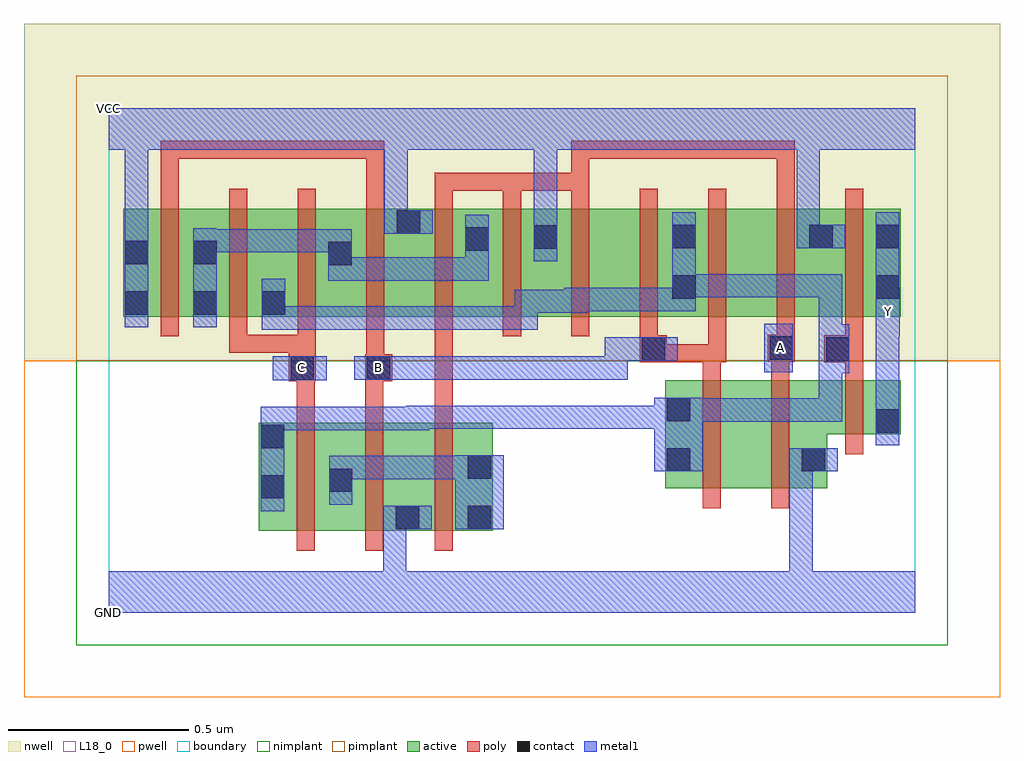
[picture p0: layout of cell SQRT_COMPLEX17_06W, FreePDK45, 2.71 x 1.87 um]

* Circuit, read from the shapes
.subckt SQRT_COMPLEX17_06W A B C GND VCC Y
M1 n1 C n2 VSUBS nfet w=0.3u l=0.05u
M2 GND B n1 VSUBS nfet w=0.3u l=0.05u
M3 n1 A GND VSUBS nfet w=0.3u l=0.05u
M4 n3 B n2 VSUBS nfet w=0.3u l=0.05u
M5 GND A n3 VSUBS nfet w=0.3u l=0.05u
M6 Y n2 GND VSUBS nfet w=0.15u l=0.05u
M7 n4 B VCC n5 pfet w=0.3u l=0.05u m=2
M8 n2 C n4 n5 pfet w=0.3u l=0.05u m=2
M9 n4 A VCC n5 pfet w=0.3u l=0.05u m=2
M10 n6 A VCC n5 pfet w=0.3u l=0.05u
M11 n2 B n6 n5 pfet w=0.3u l=0.05u
M12 n7 B n2 n5 pfet w=0.3u l=0.05u
M13 VCC A n7 n5 pfet w=0.3u l=0.05u
M14 Y n2 VCC n5 pfet w=0.3u l=0.05u
.ends

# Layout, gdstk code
import gdstk
lib = gdstk.Library(unit=1e-6, precision=1e-09)
def R(c, l, rs):  # rectangles x0, y0, x1, y1
    for r in rs: c.add(gdstk.rectangle(r[:2], r[2:], *l))
def A(c, l, x, y, w, h, nx, ny, dx, dy):  # array of equal rectangles
    R(c, l, [(x+i*dx, y+j*dy, x+i*dx+w, y+j*dy+h) for i in range(nx) for j in range(ny)])
active = (1, 0)
pwell = (2, 0)
nwell = (3, 0)
nimplant = (4, 0)
pimplant = (5, 0)
poly = (9, 0)
contact = (10, 0)
metal1 = (11, 0)
L18_0 = (18, 0)
boundary = (235, 0)

sqrt_complex17_06w = lib.new_cell('SQRT_COMPLEX17_06W')
A(sqrt_complex17_06w, active, 0.605, 0.822, 0.265, 0.3, 3, 1, 0.19, 0)
R(sqrt_complex17_06w, active, [(0.417,0.227,0.682,0.527), (0.607,0.227,0.867,0.527), (0.792,0.227,1.067,0.527), (0.792,0.227,0.867,0.402), (0.992,0.227,1.067,0.527), (0.607,0.235,0.682,0.45), (0.417,0.287,0.492,0.527), (1.545,0.345,1.77,0.645), (1.545,0.345,1.62,0.645), (1.77,0.345,1.995,0.645), (1.92,0.387,1.995,0.617), (1.92,0.495,2.2,0.645), (2.125,0.495,2.2,0.645), (0.04,0.822,0.115,1.122), (0.04,0.822,0.305,1.122), (0.23,0.822,0.305,1.122), (0.23,0.822,0.495,1.122), (0.42,0.822,0.68,1.122), (0.42,0.822,0.495,1.055), (0.605,0.822,0.68,1.122), (0.985,0.822,1.06,1.122), (1.175,0.822,1.25,1.122), (1.175,0.822,1.405,1.122), (1.405,0.822,1.635,1.122), (1.56,0.822,1.785,1.122), (1.56,0.822,1.635,1.122), (1.785,0.822,2.015,1.122), (1.94,0.822,2.015,1.122), (1.94,0.822,2.2,1.122), (2.125,0.822,2.2,1.122), (0.795,0.882,0.87,1.122)])
R(sqrt_complex17_06w, pwell, [(-0.235,-0.235,2.475,0.7)])
R(sqrt_complex17_06w, nwell, [(-0.235,0.7,2.475,1.635)])
R(sqrt_complex17_06w, nimplant, [(-0.09,-0.09,2.33,0.7)])
R(sqrt_complex17_06w, pimplant, [(-0.09,0.7,2.33,1.49)])
A(sqrt_complex17_06w, poly, 0.145, 0.767, 0.05, 0.41, 11, 1, 0.19, 0)
A(sqrt_complex17_06w, poly, 0.905, 1.127, 0.05, 0.095, 3, 1, 0.19, 0)
R(sqrt_complex17_06w, poly, [(0.522,0.172,0.572,0.582), (0.712,0.172,0.762,0.582), (0.905,0.172,0.955,0.582), (1.65,0.29,1.7,0.7), (1.84,0.29,1.89,0.7), (2.045,0.44,2.095,0.7), (0.522,0.532,0.572,0.692), (0.712,0.532,0.762,0.692), (0.905,0.532,0.955,0.627), (0.905,0.577,0.955,0.627), (0.905,0.577,0.955,0.817), (0.5,0.642,0.575,0.772), (0.712,0.642,0.787,0.717), (1.65,0.65,1.7,0.745), (1.84,0.65,1.89,0.747), (2.045,0.65,2.095,0.745), (0.715,0.667,0.765,0.817), (1.475,0.695,1.55,0.77), (1.5,0.695,1.7,0.745), (1.65,0.695,1.7,0.745), (1.65,0.695,1.7,0.745), (1.65,0.695,1.715,0.745), (1.665,0.695,1.715,0.817), (1.987,0.695,2.095,0.77), (1.83,0.697,1.905,0.772), (1.475,0.72,1.525,0.817), (2.045,0.72,2.095,0.817), (0.335,0.722,0.385,0.817), (0.335,0.722,0.385,0.772), (0.335,0.722,0.55,0.772), (0.5,0.722,0.55,0.772), (0.5,0.722,0.55,0.772), (0.525,0.722,0.575,0.817), (1.855,0.722,1.905,0.817), (0.145,1.127,0.195,1.31), (0.715,1.127,0.765,1.31), (1.855,1.127,1.905,1.31), (0.905,1.172,0.955,1.222), (0.905,1.172,0.955,1.222), (0.905,1.172,0.955,1.222), (0.905,1.172,1.145,1.222), (1.095,1.172,1.145,1.222), (1.095,1.172,1.145,1.222), (1.095,1.172,1.145,1.222), (1.095,1.172,1.335,1.222), (1.285,1.172,1.335,1.31), (0.145,1.26,0.195,1.31), (0.145,1.26,0.327,1.31), (0.277,1.26,0.327,1.31), (0.277,1.26,0.327,1.31), (0.277,1.26,0.327,1.31), (0.277,1.26,0.517,1.31), (0.467,1.26,0.517,1.31), (0.467,1.26,0.517,1.31), (0.467,1.26,0.517,1.31), (0.467,1.26,0.765,1.31), (0.715,1.26,0.765,1.31), (0.715,1.26,0.765,1.31), (0.715,1.26,0.765,1.31), (1.285,1.26,1.335,1.31), (1.285,1.26,1.335,1.31), (1.285,1.26,1.567,1.31), (1.517,1.26,1.567,1.31), (1.517,1.26,1.567,1.31), (1.517,1.26,1.567,1.31), (1.517,1.26,1.747,1.31), (1.697,1.26,1.747,1.31), (1.697,1.26,1.905,1.31), (1.855,1.26,1.905,1.31), (1.855,1.26,1.905,1.31), (1.855,1.26,1.905,1.31)])
A(sqrt_complex17_06w, contact, 0.045, 0.827, 0.065, 0.065, 3, 1, 0.19, 0)
R(sqrt_complex17_06w, contact, [(0.797,0.232,0.862,0.297), (0.997,0.232,1.062,0.297), (0.422,0.317,0.487,0.382), (0.612,0.335,0.677,0.4), (0.997,0.372,1.062,0.437), (1.55,0.392,1.615,0.457), (1.925,0.392,1.99,0.457), (0.422,0.457,0.487,0.522), (2.13,0.5,2.195,0.565), (1.55,0.532,1.615,0.597), (0.505,0.647,0.57,0.712), (0.717,0.647,0.782,0.712), (1.48,0.7,1.545,0.765), (1.992,0.7,2.057,0.765), (1.835,0.702,1.9,0.767), (1.565,0.872,1.63,0.937), (2.13,0.872,2.195,0.937), (0.61,0.965,0.675,1.03), (0.045,0.967,0.11,1.032), (0.235,0.967,0.3,1.032), (0.99,1.005,1.055,1.07), (1.18,1.01,1.245,1.075), (1.565,1.012,1.63,1.077), (1.945,1.012,2.01,1.077), (2.13,1.012,2.195,1.077), (0.8,1.052,0.865,1.117)])
R(sqrt_complex17_06w, metal1, [(0,0,2.24,0.115), (0.762,0.05,0.827,0.115), (0.762,0.05,0.827,0.115), (0.762,0.05,0.827,0.115), (0.762,0.05,0.827,0.115), (0.762,0.05,0.827,0.297), (1.89,0.05,1.955,0.115), (1.89,0.05,1.955,0.115), (1.89,0.05,1.955,0.115), (1.89,0.05,1.955,0.115), (1.89,0.05,1.955,0.457), (0.762,0.232,0.897,0.297), (0.962,0.232,1.097,0.437), (0.422,0.282,0.487,0.557), (0.612,0.3,0.677,0.435), (0.612,0.37,0.815,0.435), (0.75,0.37,0.815,0.435), (0.75,0.37,0.815,0.435), (0.75,0.37,0.815,0.435), (0.75,0.37,1.027,0.435), (0.962,0.37,1.027,0.435), (0.962,0.37,1.027,0.435), (1.515,0.392,1.65,0.597), (1.89,0.392,2.025,0.457), (2.13,0.465,2.195,0.6), (0.422,0.492,0.487,0.557), (0.422,0.492,0.487,0.572), (0.422,0.507,0.677,0.572), (0.612,0.507,0.677,0.572), (0.612,0.507,0.677,0.572), (0.612,0.507,0.677,0.572), (0.612,0.507,0.89,0.572), (0.825,0.507,0.89,0.575), (0.825,0.51,1.055,0.575), (0.99,0.51,1.055,0.575), (0.99,0.51,1.055,0.575), (0.99,0.51,1.055,0.575), (0.99,0.51,1.192,0.575), (1.127,0.51,1.192,0.575), (1.127,0.51,1.192,0.575), (1.127,0.51,1.192,0.575), (1.127,0.51,1.355,0.575), (1.29,0.51,1.355,0.575), (1.29,0.51,1.355,0.575), (1.29,0.51,1.355,0.575), (1.29,0.51,1.492,0.575), (1.427,0.51,1.492,0.575), (1.427,0.51,1.58,0.575), (1.585,0.53,1.65,0.595), (1.585,0.53,1.65,0.595), (1.585,0.53,1.787,0.595), (1.722,0.53,1.787,0.595), (1.722,0.53,1.787,0.595), (1.722,0.53,1.787,0.595), (1.722,0.53,2.037,0.595), (1.972,0.53,2.037,0.595), (1.972,0.53,2.037,0.73), (2.13,0.535,2.195,0.832), (0.455,0.645,0.605,0.712), (0.682,0.647,0.817,0.712), (0.752,0.647,0.817,0.712), (0.752,0.647,0.817,0.712), (0.752,0.647,1.055,0.712), (0.99,0.647,1.055,0.712), (0.99,0.647,1.055,0.712), (0.99,0.647,1.055,0.712), (0.99,0.647,1.192,0.712), (1.127,0.647,1.192,0.712), (1.127,0.647,1.192,0.712), (1.127,0.647,1.192,0.712), (1.127,0.647,1.355,0.712), (1.29,0.647,1.355,0.712), (1.29,0.647,1.442,0.712), (1.377,0.647,1.442,0.765), (1.972,0.665,2.037,0.73), (1.972,0.665,2.037,0.94), (1.972,0.665,2.057,0.73), (1.992,0.665,2.057,0.8), (1.82,0.667,1.9,0.802), (1.377,0.7,1.51,0.765), (1.445,0.7,1.58,0.765), (2.13,0.767,2.197,0.902), (0.425,0.785,0.675,0.85), (0.425,0.785,0.49,0.857), (0.61,0.785,0.675,0.85), (0.61,0.785,0.89,0.85), (0.825,0.785,0.89,0.85), (0.825,0.785,0.89,0.85), (0.825,0.785,0.89,0.85), (0.825,0.785,1.055,0.85), (0.99,0.785,1.055,0.85), (0.99,0.785,1.055,0.85), (0.99,0.785,1.055,0.85), (0.99,0.785,1.192,0.85), (1.127,0.785,1.192,0.85), (1.127,0.785,1.192,0.85), (1.127,0.785,1.192,0.897), (0.045,0.792,0.11,1.067), (0.235,0.792,0.3,1.067), (0.425,0.792,0.49,0.857), (0.425,0.792,0.49,0.927), (1.127,0.832,1.33,0.897), (1.265,0.832,1.33,0.902), (1.265,0.837,1.382,0.902), (1.317,0.837,1.382,0.902), (1.317,0.837,1.492,0.902), (1.427,0.837,1.492,0.902), (1.427,0.837,1.63,0.902), (1.565,0.837,1.63,1.112), (2.13,0.837,2.195,0.902), (2.13,0.837,2.195,1.112), (1.565,0.875,1.63,0.94), (1.565,0.875,1.63,0.94), (1.565,0.875,1.787,0.94), (1.722,0.875,1.787,0.94), (1.722,0.875,1.787,0.94), (1.722,0.875,1.787,0.94), (1.722,0.875,2.037,0.94), (1.972,0.875,2.037,0.94), (0.61,0.922,0.815,0.987), (0.61,0.922,0.675,0.995), (0.75,0.922,0.815,0.987), (0.75,0.922,1.055,0.987), (0.99,0.922,1.055,1.035), (0.61,0.93,0.675,0.995), (0.61,0.93,0.675,1.065), (0.99,0.97,1.055,1.035), (0.99,0.97,1.055,1.105), (1.18,0.975,1.245,1.11), (0.235,1,0.3,1.065), (0.235,1,0.3,1.065), (0.235,1,0.46,1.065), (0.395,1,0.46,1.065), (0.395,1,0.46,1.065), (0.395,1,0.46,1.065), (0.395,1,0.675,1.065), (0.045,1.002,0.11,1.35), (1.91,1.012,1.975,1.077), (1.91,1.012,1.975,1.077), (1.91,1.012,1.975,1.35), (1.91,1.012,2.045,1.077), (1.18,1.045,1.245,1.11), (1.18,1.045,1.245,1.11), (1.18,1.045,1.245,1.35), (0.765,1.052,0.9,1.117), (0.765,1.052,0.83,1.35), (0,1.285,2.24,1.4), (0.045,1.285,0.11,1.35), (0.045,1.285,0.11,1.35), (0.765,1.285,0.83,1.35), (0.765,1.285,0.83,1.35)])
R(sqrt_complex17_06w, L18_0, [(0,0,2.24,0.115), (0.762,0.05,0.827,0.115), (0.762,0.05,0.827,0.115), (0.762,0.05,0.827,0.115), (0.762,0.05,0.827,0.115), (0.762,0.05,0.827,0.297), (1.89,0.05,1.955,0.115), (1.89,0.05,1.955,0.115), (1.89,0.05,1.955,0.115), (1.89,0.05,1.955,0.115), (1.89,0.05,1.955,0.457), (0.762,0.232,0.897,0.297), (1.89,0.392,2.025,0.457), (2.13,0.465,2.195,0.6), (2.13,0.535,2.195,0.832), (0.455,0.645,0.605,0.712), (0.502,0.647,0.567,0.712), (0.682,0.647,0.817,0.712), (0.717,0.647,0.782,0.712), (0.752,0.647,0.817,0.712), (0.752,0.647,0.817,0.712), (0.752,0.647,1.055,0.712), (0.99,0.647,1.055,0.712), (0.99,0.647,1.055,0.712), (0.99,0.647,1.055,0.712), (0.99,0.647,1.192,0.712), (1.127,0.647,1.192,0.712), (1.127,0.647,1.192,0.712), (1.127,0.647,1.192,0.712), (1.127,0.647,1.355,0.712), (1.29,0.647,1.355,0.712), (1.29,0.647,1.442,0.712), (1.377,0.647,1.442,0.765), (1.82,0.667,1.9,0.802), (1.377,0.7,1.51,0.765), (1.445,0.7,1.58,0.765), (1.832,0.702,1.897,0.767), (2.13,0.767,2.197,0.902), (0.045,0.792,0.11,1.067), (2.132,0.802,2.197,0.867), (2.13,0.837,2.195,1.112), (2.13,0.837,2.195,0.902), (1.18,0.975,1.245,1.11), (0.045,1.002,0.11,1.35), (1.91,1.012,1.975,1.077), (1.91,1.012,1.975,1.077), (1.91,1.012,2.045,1.077), (1.91,1.012,1.975,1.35), (1.18,1.045,1.245,1.11), (1.18,1.045,1.245,1.11), (1.18,1.045,1.245,1.35), (0.765,1.052,0.9,1.117), (0.765,1.052,0.83,1.35), (0,1.285,2.24,1.4), (0.045,1.285,0.11,1.35), (0.045,1.285,0.11,1.35), (0.765,1.285,0.83,1.35), (0.765,1.285,0.83,1.35)])
R(sqrt_complex17_06w, boundary, [(0,0,2.24,1.4)])
sqrt_complex17_06w.add(gdstk.Label('A', (1.865,0.735), layer=11, texttype=0))
sqrt_complex17_06w.add(gdstk.Label('B', (0.75,0.68), layer=11, texttype=0))
sqrt_complex17_06w.add(gdstk.Label('C', (0.535,0.68), layer=11, texttype=0))
sqrt_complex17_06w.add(gdstk.Label('Y', (2.165,0.835), layer=11, texttype=0))
sqrt_complex17_06w.add(gdstk.Label('VCC', (0,1.4), layer=11, texttype=0))
sqrt_complex17_06w.add(gdstk.Label('GND', (0,0), layer=11, texttype=0))

lib.write_gds('SQRT_COMPLEX17_06W.gds')
